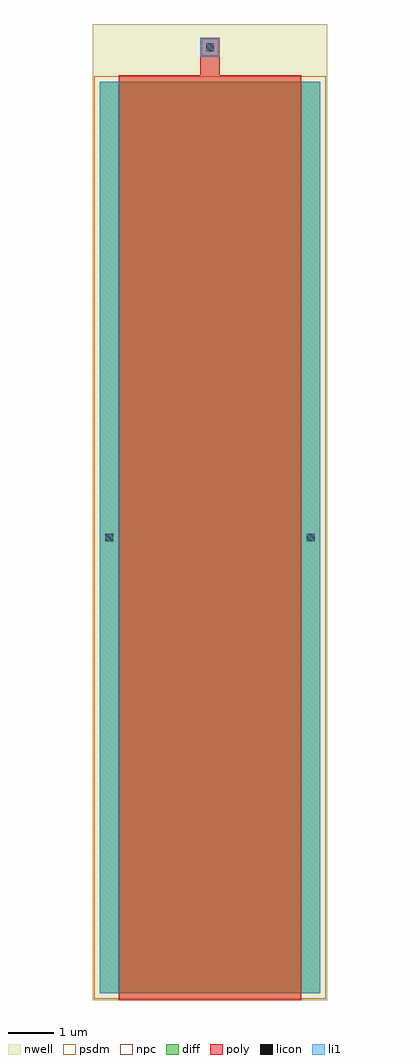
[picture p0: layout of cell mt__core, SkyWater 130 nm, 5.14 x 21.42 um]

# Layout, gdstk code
import gdstk
lib = gdstk.Library(unit=1e-6, precision=1e-09)
def R(c, l, rs):  # rectangles x0, y0, x1, y1
    for r in rs: c.add(gdstk.rectangle(r[:2], r[2:], *l))
nwell = (64, 20)
diff = (65, 20)
poly = (66, 20)
licon = (66, 44)
li1 = (67, 20)
psdm = (94, 20)
npc = (95, 20)

mt__core = lib.new_cell('mt__core')
R(mt__core, nwell, [(-0.15,-0.15,4.99,21.27)])
R(mt__core, diff, [(0,0,4.84,20)])
R(mt__core, poly, [(0.42,-0.15,4.42,20), (0.42,20,4.42,20.15), (0.42,20,4.42,20.15), (2.21,20.15,2.63,20.97)])
R(mt__core, licon, [(0.125,9.915,0.295,10.085), (4.545,9.915,4.715,10.085), (2.335,20.675,2.505,20.845)])
R(mt__core, li1, [(0,0,0.42,20), (4.42,0,4.84,20), (2.21,20.55,2.63,20.97)])
R(mt__core, psdm, [(-0.125,-0.125,4.965,20.125)])
R(mt__core, npc, [(2.235,20.575,2.605,20.945)])

lib.write_gds('mt__core.gds')
